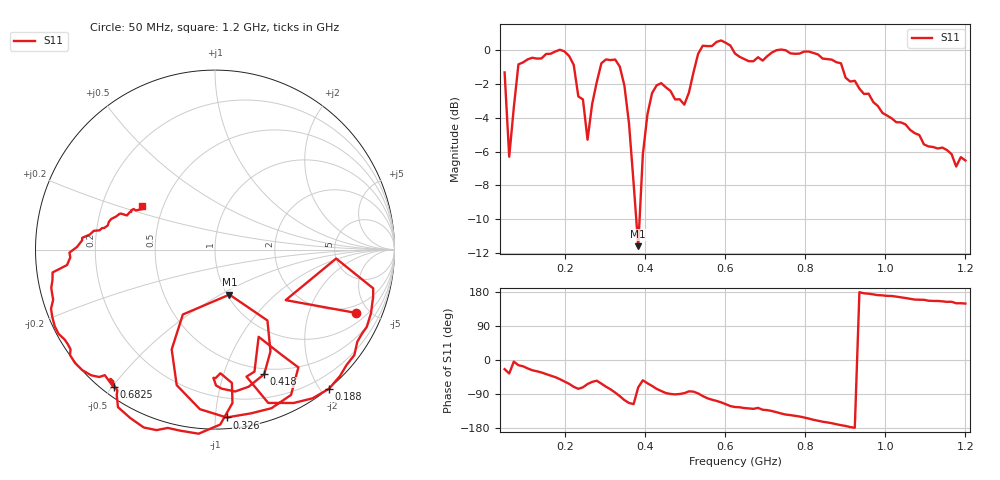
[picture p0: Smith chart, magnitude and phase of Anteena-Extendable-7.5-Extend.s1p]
# HZ S RI R 50
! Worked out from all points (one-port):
!   101 points, 50 MHz to 1.2 GHz, reference 50 ohm
!   lowest |S11| = -11.6 dB at 383.5 MHz (marker M1), VSWR 1.72, Z = 51.2 - j27.6 ohm
!   |S11| at or under -10 dB: 378.6 MHz to 386.9 MHz (8.304 MHz wide, 2.17 % of centre)
!   S11 on the Smith chart (normalised r, x): 50 MHz: 1.53, -4.12; 188 MHz: -0.01, -2.11; 326 MHz: 0.07, -1.07; 418 MHz: 0.44, -1.38; 682.5 MHz: 0.03, -0.51; 1.2 GHz: 0.38, +0.24
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5e7  0.7834 -0.3524
6.15e7  0.3937 -0.2816
7.3e7  0.675 -0.0498
8.45e7  0.8812 -0.2158
1.88e8  0.635 -0.7754
1.995e8  0.543 -0.8288
2.225e8  0.2965 -0.8543
2.34e8  0.1753 -0.7078
2.57e8  0.2432 -0.4859
2.8e8  0.4646 -0.6564
3.26e8  0.0649 -0.9353
3.375e8  -0.0841 -0.8892
3.605e8  -0.2413 -0.5562
3.72e8  -0.1791 -0.3615
3.835e8  0.0806 -0.2507
3.95e8  0.2922 -0.3951
4.18e8  0.2744 -0.6936
4.525e8  0.038 -0.775
4.87e8  0.00399 -0.7155
5.215e8  0.0973 -0.8547
5.445e8  -0.0913 -1.026
6.25e8  -0.5476 -0.8087
6.825e8  -0.5643 -0.7672
7.745e8  -0.82 -0.5273
8.665e8  -0.9123 -0.2139
9.125e8  -0.806 -0.0428
1.062e9  -0.5511 0.1843
1.2e9  -0.404 0.2438
